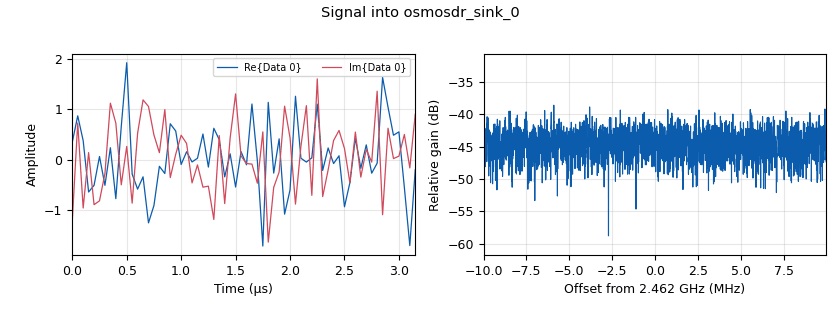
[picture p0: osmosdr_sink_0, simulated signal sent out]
<?xml version='1.0' encoding='utf-8'?>
<?grc format='1' created='3.7.13'?>
<flow_graph>
<block>
<key>options</key>
<param><key>id</key><value>top_block</value></param>
<param><key>generate_options</key><value>qt_gui</value></param>
</block>
<block>
<key>variable</key>
<param><key>id</key><value>freq</value></param>
<param><key>value</key><value>2462e6</value></param>
</block>
<block>
<key>variable</key>
<param><key>id</key><value>samp_rate</value></param>
<param><key>value</key><value>20e6</value></param>
</block>
<block>
<key>analog_noise_source_x</key>
<param><key>id</key><value>analog_noise_source_x_0</value></param>
<param><key>amp</key><value>1</value></param>
<param><key>noise_type</key><value>analog.GR_GAUSSIAN</value></param>
<param><key>type</key><value>complex</value></param>
<param><key>seed</key><value>0</value></param>
</block>
<block>
<key>osmosdr_sink</key>
<param><key>id</key><value>osmosdr_sink_0</value></param>
<param><key>bb_gain0</key><value>20</value></param>
<param><key>freq0</key><value>freq</value></param>
<param><key>if_gain0</key><value>20</value></param>
<param><key>gain0</key><value>47</value></param>
<param><key>args</key><value></value></param>
<param><key>type</key><value>fc32</value></param>
<param><key>sample_rate</key><value>samp_rate</value></param>
<param><key>sync</key><value></value></param>
</block>
<connection><source_block_id>analog_noise_source_x_0</source_block_id><sink_block_id>osmosdr_sink_0</sink_block_id><source_key>0</source_key><sink_key>0</sink_key></connection>
</flow_graph>
